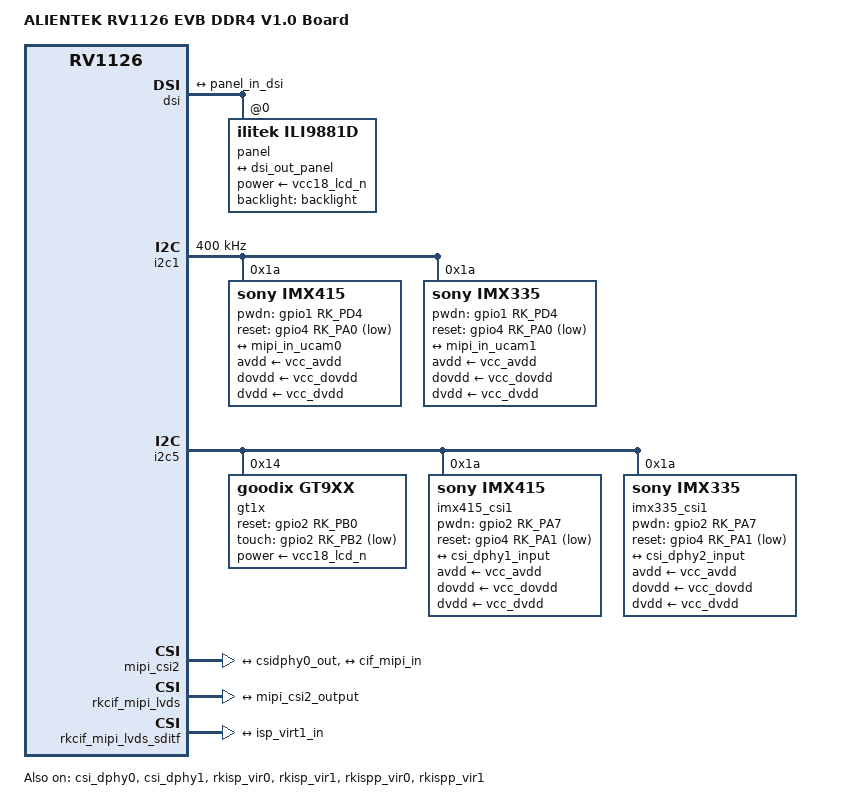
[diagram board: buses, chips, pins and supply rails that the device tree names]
/* SPDX-License-Identifier: (GPL-2.0+ OR MIT)
/*
 * Copyright (c) 2020 Rockchip Electronics Co., Ltd.
 */
/dts-v1/;
#include "rv1126.dtsi"
#include "rv1126-alientek.dtsi"
/ {
    model = "ALIENTEK RV1126 EVB DDR4 V1.0 Board";
    compatible = "rockchip,rv1126-evb-ddr3-v13", "rockchip,rv1126";

    chosen {
        bootargs = "earlycon=uart8250,mmio32,0xff570000 console=ttyFIQ0 root=PARTUUID=614e0000-0000 rootfstype=ext4 rootwait snd_aloop.index=7";
    };
};
&dsi {
	status = "okay";

	panel@0 {
		compatible = "ilitek,ili9881d", "simple-panel-dsi";
		reg = <0>;
		backlight = <&backlight>;
		power-supply = <&vcc18_lcd_n>;
		prepare-delay-ms = <5>;
		reset-delay-ms = <1>;
		init-delay-ms = <80>;
		disable-delay-ms = <10>;
		unprepare-delay-ms = <5>;

		width-mm = <68>;
		height-mm = <121>;

		dsi,flags = <(MIPI_DSI_MODE_VIDEO | MIPI_DSI_MODE_VIDEO_BURST |
			      MIPI_DSI_MODE_LPM | MIPI_DSI_MODE_EOT_PACKET)>;
		dsi,format = <MIPI_DSI_FMT_RGB888>;
		dsi,lanes = <4>;

		panel-init-sequence = [
            39 00 04 B9 FF 83 94
            15 00 02 36 01
            39 00 07 BA 63 03 68 6B B2 C0
            39 00 0B B1 48 12 72 09 32 54 71 71 57 47
            39 00 07 B2 00 80 64 0C 0D 2F
            39 00 16 B4 73 74 73 74 73 74 01 0C 86 75 00 3F 73 74 73 74 73 74 01 0C 86
            39 00 03 B6 6E 6E
            39 00 22 D3 00 00 07 07 40 07 0C 00 08 10 08 00 08 54 15 0A 05 0A 02 15 06 05 06 47 44 0A 0A 4B 10 07 07 0C 40
            39 00 2D D5 1C 1C 1D 1D 00 01 02 03 04 05 06 07 08 09 0A 0B 24 25 18 18 26 27 18 18 18 18 18 18 18 18 18 18 18 18 18 18 18 18 20 21 18 18 18 18
            39 00 2D D6 1C 1C 1D 1D 07 06 05 04 03 02 01 00 0B 0A 09 08 21 20 18 18 27 26 18 18 18 18 18 18 18 18 18 18 18 18 18 18 18 18 25 24 18 18 18 18
            39 00 3B E0 00 0A 15 1B 1E 21 24 22 47 56 65 66 6E 82 88 8B 9A 9D 98 A8 B9 5D 5C 61 66 6A 6F 7F 7F 00 0A 15 1B 1E 21 24 22 47 56 65 65 6E 81 87 8B 98 9D 99 A8 BA 5D 5D 62 67 6B 72 7F 7F
            39 00 03 C0 1F 31
            15 00 02 CC 03
            15 00 02 D4 02
            15 00 02 BD 02
            39 00 0D D8 FF FF FF FF FF FF FF FF FF FF FF FF
            15 00 02 BD 00
            15 00 02 BD 01
            15 00 02 B1 00
            15 00 02 BD 00
            39 00 08 BF 40 81 50 00 1A FC 01
            15 00 02 C6 ED
            05 64 01 11
            05 78 01 29

        ];

		display-timings {
            native-mode = <&timing0>;
			timing0: timing0 {
				clock-frequency = <65000000>;
				hactive = <720>;
				vactive = <1280>;
				hfront-porch = <48>;
				hsync-len = <8>;
				hback-porch = <52>;
				vfront-porch = <16>;
				vsync-len = <6>;
				vback-porch = <15>;
				hsync-active = <0>;
				vsync-active = <0>;
				de-active = <0>;
				pixelclk-active = <0>;
			};
		};

        
		ports {
			#address-cells = <1>;
			#size-cells = <0>;

			port@0 {
				reg = <0>;
				panel_in_dsi: endpoint {
					remote-endpoint = <&dsi_out_panel>;
				};
			};
		};
	};

	ports {
		#address-cells = <1>;
		#size-cells = <0>;

		port@1 {
			reg = <1>;
			dsi_out_panel: endpoint {
				remote-endpoint = <&panel_in_dsi>;
			};
		};
	};
};

&csi_dphy0 {
    status = "okay";

    ports {
        #address-cells = <1>;
        #size-cells = <0>;
        port@0 {
            reg = <0>;
            #address-cells = <1>;
            #size-cells = <0>;

            mipi_in_ucam0: endpoint@1 {
                reg = <1>;
                remote-endpoint = <&ucam_out0>;
                data-lanes = <1 2 3 4>;
            };

            mipi_in_ucam1: endpoint@2 {
                reg = <2>;
                remote-endpoint = <&ucam_out1>;
                data-lanes = <1 2 3 4>;
            };
        };
        port@1 {
            reg = <1>;
            #address-cells = <1>;
            #size-cells = <0>;

            csidphy0_out: endpoint@0 {
                reg = <0>;
                remote-endpoint = <&mipi_csi2_input>;
            };
        };
    };
};

&csi_dphy1 {
    status = "okay";

    ports {
        #address-cells = <1>;
        #size-cells = <0>;

        port@0 {
            reg = <0>;
            #address-cells = <1>;
            #size-cells = <0>;

            csi_dphy1_input: endpoint@1 {
                reg = <1>;
                remote-endpoint = <&ucam_out2>;
                data-lanes = <1 2 3 4>;
            };

            csi_dphy2_input: endpoint@2 {
                reg = <2>;
                remote-endpoint = <&ucam_out3>;
                data-lanes = <1 2 3 4>;
            };
        };

        port@1 {
            reg = <1>;
            #address-cells = <1>;
            #size-cells = <0>;

            csi_dphy1_output: endpoint@0 {
                reg = <0>;
                remote-endpoint = <&isp_in>;
                data-lanes = <1 2 3 4>;
            };
        };
    };
};


&i2c1 {
	status = "okay";
	clock-frequency = <400000>;

    imx415: imx415@1a {
        compatible = "sony,imx415";
        reg = <0x1a>;
        clocks = <&cru CLK_MIPICSI_OUT>;
        clock-names = "xvclk";
        power-domains = <&power RV1126_PD_VI>;
        pinctrl-names = "rockchip,camera_default";
        pinctrl-0 = <&mipicsi_clk0>;
        avdd-supply = <&vcc_avdd>;
        dovdd-supply = <&vcc_dovdd>;
        dvdd-supply = <&vcc_dvdd>;
        pwdn-gpios = <&gpio1 RK_PD4 GPIO_ACTIVE_HIGH>;
        reset-gpios = <&gpio4 RK_PA0 GPIO_ACTIVE_LOW>;
        rockchip,camera-module-index = <0>;
        rockchip,camera-module-facing = "front";
        rockchip,camera-module-name = "YT10092";
        rockchip,camera-module-lens-name = "IR0147-60IRC-8M-F20-hdr3";
        port {
            ucam_out0: endpoint {
                remote-endpoint = <&mipi_in_ucam0>;
                data-lanes = <1 2 3 4>;
            };
        };
    };

    imx335: imx335@1a {
        compatible = "sony,imx335";
        reg = <0x1a>;
        clocks = <&cru CLK_MIPICSI_OUT>;
        clock-names = "xvclk";
        power-domains = <&power RV1126_PD_VI>;
        pinctrl-names = "rockchip,camera_default";
        pinctrl-0 = <&mipicsi_clk0>;
        avdd-supply = <&vcc_avdd>;
        dovdd-supply = <&vcc_dovdd>;
        dvdd-supply = <&vcc_dvdd>;
        pwdn-gpios = <&gpio1 RK_PD4 GPIO_ACTIVE_HIGH>;
        reset-gpios = <&gpio4 RK_PA0 GPIO_ACTIVE_LOW>;
        rockchip,camera-module-index = <0>;
        rockchip,camera-module-facing = "front";
        rockchip,camera-module-name = "MTV4-IR-E-P";
        rockchip,camera-module-lens-name = "40IRC-4MP-F16";
        port {
            ucam_out1: endpoint {
                remote-endpoint = <&mipi_in_ucam1>;
                data-lanes = <1 2 3 4>;
            };
        };
    };
};

&i2c5 {
    gt1x: gt1x@14 {
        compatible = "goodix,gt9xx";
        reg = <0x14>;
        gtp_ics_slot_report;
        pinctrl-names = "default";
        pinctrl-0 = <&touch_gpio>;
        power-supply = <&vcc18_lcd_n>;
        reset-gpio = <&gpio2 RK_PB0 GPIO_ACTIVE_HIGH>;
        touch-gpio = <&gpio2 RK_PB2 GPIO_ACTIVE_LOW>;
        tp-size = <911>;
        status = "okay";
    };

    imx415_csi1: imx415@1a {
        compatible = "sony,imx415";
        reg = <0x1a>;
        clocks = <&cru CLK_MIPICSI_OUT>;
        clock-names = "xvclk";
        power-domains = <&power RV1126_PD_VI>;
        pinctrl-names = "rockchip,camera_default";
        pinctrl-0 = <&mipicsi_clk1>;
        avdd-supply = <&vcc_avdd>;
        dovdd-supply = <&vcc_dovdd>;
        dvdd-supply = <&vcc_dvdd>;
        pwdn-gpios = <&gpio2 RK_PA7 GPIO_ACTIVE_HIGH>;
        reset-gpios = <&gpio4 RK_PA1 GPIO_ACTIVE_LOW>;
        rockchip,camera-module-index = <1>;
        rockchip,camera-module-facing = "front";
        rockchip,camera-module-name = "YT10092";
        rockchip,camera-module-lens-name = "IR0147-60IRC-8M-F20-hdr3";
        port {
            ucam_out2: endpoint {
                remote-endpoint = <&csi_dphy1_input>;
                data-lanes = <1 2 3 4>;
            };
        };
    };

    imx335_csi1: imx335-csi@1a {
        compatible = "sony,imx335";
        reg = <0x1a>;
        clocks = <&cru CLK_MIPICSI_OUT>;
        clock-names = "xvclk";
        power-domains = <&power RV1126_PD_VI>;
        pinctrl-names = "rockchip,camera_default";
        pinctrl-0 = <&mipicsi_clk1>;
        avdd-supply = <&vcc_avdd>;
        dovdd-supply = <&vcc_dovdd>;
        dvdd-supply = <&vcc_dvdd>;
        pwdn-gpios = <&gpio2 RK_PA7 GPIO_ACTIVE_HIGH>;
        reset-gpios = <&gpio4 RK_PA1 GPIO_ACTIVE_LOW>;
        rockchip,camera-module-index = <1>;
        rockchip,camera-module-facing = "front";
        rockchip,camera-module-name = "MTV4-IR-E-P";
        rockchip,camera-module-lens-name = "40IRC-4MP-F16";
        port {
            ucam_out3: endpoint {
                remote-endpoint = <&csi_dphy2_input>;
                data-lanes = <1 2 3 4>;
            };
        };
    };

};

&isp_reserved {
    size = <0x20000000>;
};
&mipi_csi2 {
    status = "okay";

    ports {
        #address-cells = <1>;
        #size-cells = <0>;

        port@0 {
            reg = <0>;
            #address-cells = <1>;
            #size-cells = <0>;

            mipi_csi2_input: endpoint@1 {
                reg = <1>;
                remote-endpoint = <&csidphy0_out>;
                data-lanes = <1 2 3 4>;
            };
        };

        port@1 {
            reg = <1>;
            #address-cells = <1>;
            #size-cells = <0>;

            mipi_csi2_output: endpoint@0 {
                reg = <0>;
                remote-endpoint = <&cif_mipi_in>;
                data-lanes = <1 2 3 4>;
            };
        };
    };
};

&rkcif_mipi_lvds {
    status = "okay";

    port {
        /* MIPI CSI-2 endpoint */
        cif_mipi_in: endpoint {
            remote-endpoint = <&mipi_csi2_output>;
            data-lanes = <1 2 3 4>;
        };
    };
};

&rkcif_mipi_lvds_sditf {
    status = "okay";

    port {
        /* MIPI CSI-2 endpoint */
        cif_sditf: endpoint {
            remote-endpoint = <&isp_virt1_in>;
            data-lanes = <1 2 3 4>;
        };
    };
};

&rkisp_vir0 {
    status = "okay";

    ports {
        port@0 {
            reg = <0>;
            #address-cells = <1>;
            #size-cells = <0>;

            isp_virt1_in: endpoint@0 {
                reg = <0>;
                remote-endpoint = <&cif_sditf>;
            };
        };
    };
};

&rkisp_vir1 {
    status = "okay";
    ports {
        port@0 {
            reg = <0>;
            #address-cells = <1>;
            #size-cells = <0>;

            isp_in: endpoint@0 {
                reg = <0>;
                remote-endpoint = <&csi_dphy1_output>;
            };
        };
    };
};


&rkispp_vir0 {
	status = "okay";
};

&rkispp_vir1 {
	status = "okay";
};

&isp_reserved {
    size = <0x20000000>;
};

&rkispp {
	max-input = <3840 2160 30>;
};
